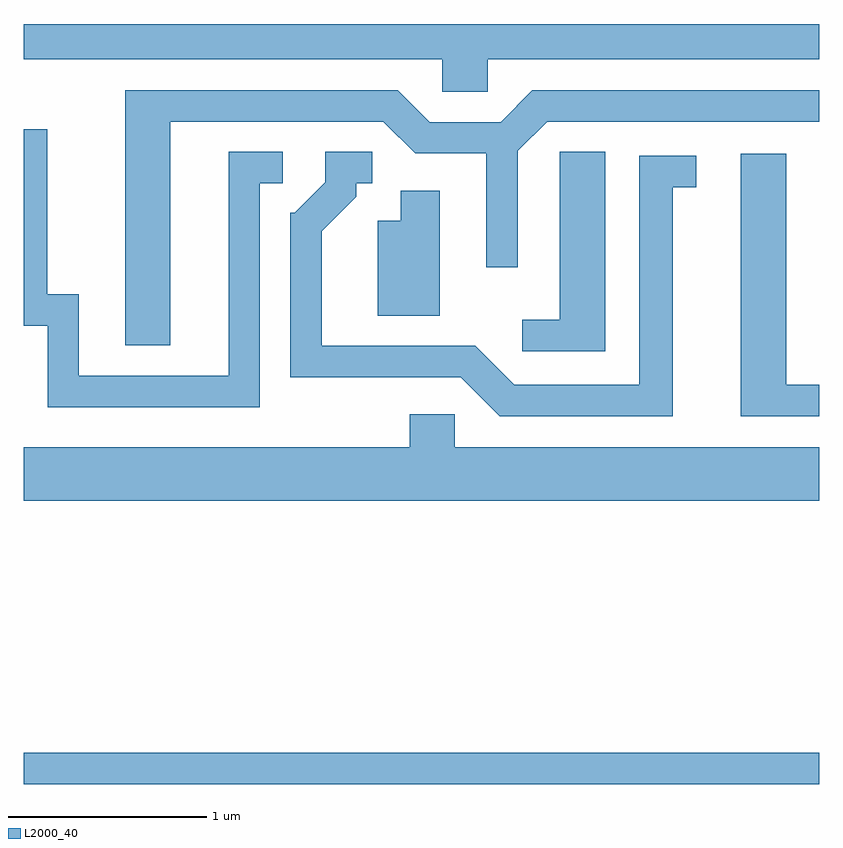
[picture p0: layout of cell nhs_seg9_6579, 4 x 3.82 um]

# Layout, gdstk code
import gdstk
lib = gdstk.Library(unit=1e-6, precision=1e-09)
def R(c, l, rs):  # rectangles x0, y0, x1, y1
    for r in rs: c.add(gdstk.rectangle(r[:2], r[2:], *l))
def P(c, l, *ps):  # polygons
    for p in ps: c.add(gdstk.Polygon(p, *l))
L2000_40 = (2000, 40)

nhs_seg9_6579 = lib.new_cell('nhs_seg9_6579')
R(nhs_seg9_6579, L2000_40, [(379.611,1992.611,383.611,1992.769)])
P(nhs_seg9_6579, L2000_40, [(381.944,1996.256),(383.611,1996.256),(383.611,1996.432),(379.611,1996.432),(379.611,1996.256),(381.716,1996.256),(381.716,1996.091),(381.944,1996.091)],
  [(380.349,1995.941),(381.419,1995.941),(381.579,1995.781),(381.936,1995.781),(381.936,1995.208),(382.094,1995.208),(382.094,1995.794),(382.242,1995.941),(383.611,1995.941),(383.611,1996.099),(382.169,1996.099),(382.009,1995.939),(381.652,1995.939),(381.492,1996.099),(380.121,1996.099),(380.121,1994.816),(380.349,1994.816)],
  [(380.799,1995.631),(380.913,1995.631),(380.913,1995.789),(380.641,1995.789),(380.641,1994.664),(379.889,1994.664),(379.889,1995.074),(379.729,1995.074),(379.729,1995.904),(379.611,1995.904),(379.611,1994.916),(379.731,1994.916),(379.731,1994.506),(380.799,1994.506)],
  [(382.874,1995.611),(382.993,1995.611),(382.993,1995.769),(382.706,1995.769),(382.706,1994.619),(382.077,1994.619),(381.882,1994.814),(381.109,1994.814),(381.109,1995.389),(381.284,1995.564),(381.284,1995.631),(381.363,1995.631),(381.363,1995.789),(381.126,1995.789),(381.126,1995.637),(380.974,1995.484),(380.951,1995.484),(380.951,1994.656),(381.809,1994.656),(382.004,1994.461),(382.874,1994.461)],
  [(382.534,1995.789),(382.306,1995.789),(382.306,1994.944),(382.118,1994.944),(382.118,1994.786),(382.534,1994.786)],
  [(383.611,1994.619),(383.444,1994.619),(383.444,1995.779),(383.216,1995.779),(383.216,1994.461),(383.611,1994.461)],
  [(381.704,1995.594),(381.506,1995.594),(381.506,1995.444),(381.391,1995.444),(381.391,1994.966),(381.704,1994.966)],
  [(383.611,1994.304),(381.779,1994.304),(381.779,1994.469),(381.551,1994.469),(381.551,1994.304),(379.611,1994.304),(379.611,1994.036),(383.611,1994.036)])

lib.write_gds('nhs_seg9_6579.gds')
